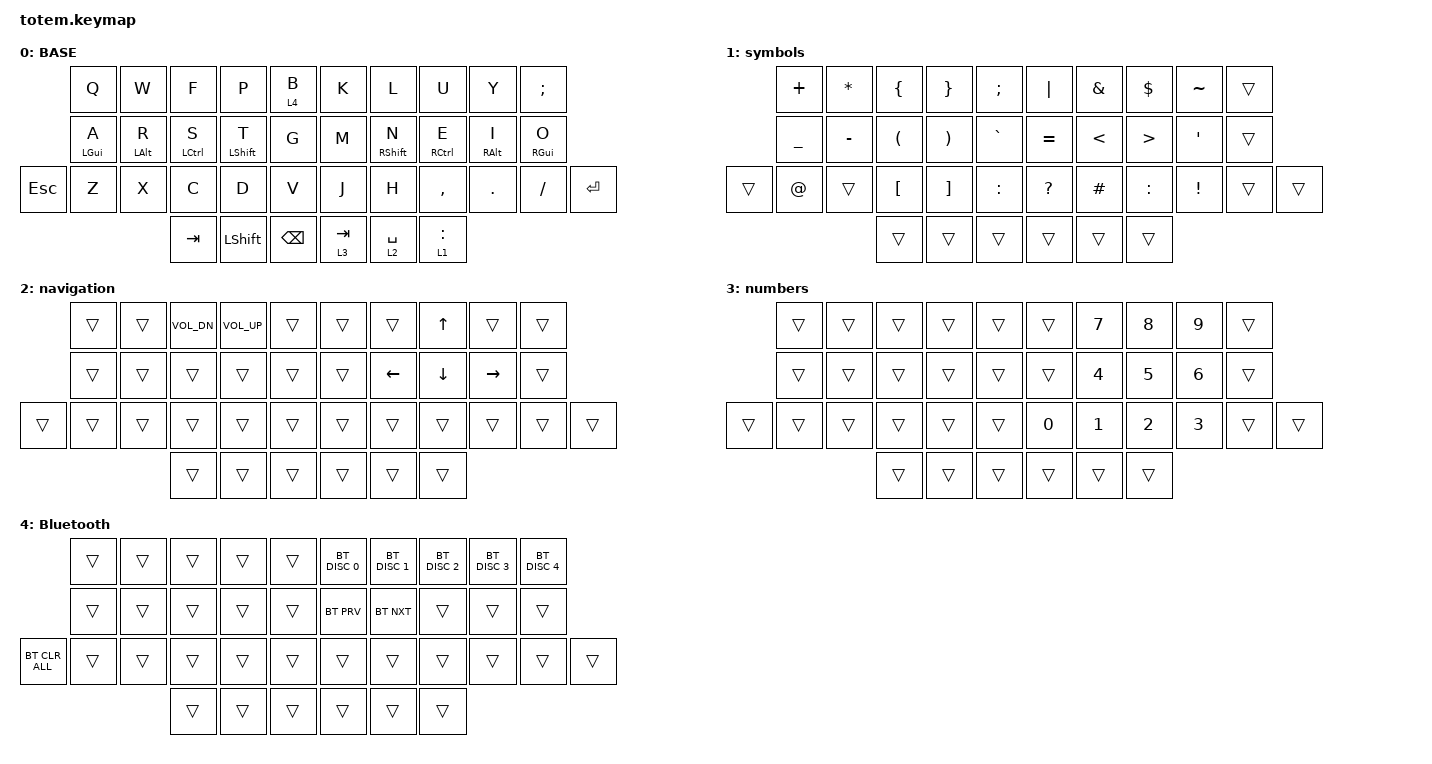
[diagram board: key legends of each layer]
//
//                                                        ▀▀▀▀▀     ▀▀▀▀▀          ▀▀█▀▀
//                                                        ▄▀▀▀▄  ▄  ▄▀▀▀▄  ▄  ▄▀▀▀▄  █  ▄▀▀▀▄
//                                                        █   █  █  █   █  █  █   █  █  █   █
//                                                         ▀▀▀   █   ▀▀▀   █   ▀▀▀   ▀   ▀▀▀
//                                                               █      ▄▄▄█▄▄▄    █   █  
//                                                               ▀      █  █  █     █▄█
//                                                             ▀▀▀▀▀    █  █  █      ▀
//                                                                      ▀  ▀  ▀
//
// ▄▄▄▄▄▄▄▄▄▄▄▄▄▄▄▄▄▄▄▄▄▄▄▄▄▄▄▄▄▄▄▄▄▄▄▄▄▄▄▄▄▄▄▄▄▄▄▄▄▄▄▄▄▄▄▄▄▄▄▄▄▄▄▄▄▄▄▄▄▄▄▄▄▄▄▄▄▄▄▄▄▄▄▄▄▄▄▄▄▄▄▄▄▄▄▄▄▄▄▄▄▄▄▄▄▄▄▄▄▄▄▄▄▄▄▄▄▄▄▄▄▄▄▄▄▄▄▄▄▄▄▄▄▄▄▄▄▄▄▄▄▄▄▄▄▄▄▄▄

#include <behaviors.dtsi>
#include <dt-bindings/zmk/bt.h>
#include <dt-bindings/zmk/keys.h>

#define BASE 0
#define NAV  1
#define SYM  2
#define ADJ  3
#define TVP1 4
#define TVP2 5

&mt {
    quick-tap-ms = <100>;
    global-quick-tap;
    flavor = "tap-preferred";
    tapping-term-ms = <170>;
};

/ {
    combos {
        compatible = "zmk,combos";

        combo_esc {
            timeout-ms = <50>;
            key-positions = <0 1>;
            bindings = <&kp ESC>;
        };

        combo_tvp {
            timeout-ms = <100>;
            key-positions = <11 12 13>;
            bindings = <&tog 0>;
        };
    };

    macros {
        gif: gif {
            label = "giphy";
            compatible = "zmk,behavior-macro";
            #binding-cells = <0>;
            bindings =
                <&macro_press>,
                <&kp LSHFT>,
                <&macro_tap>,
                <&kp N2>,
                <&macro_release>,
                <&kp LSHFT>,
                <&macro_tap>,
                <&kp G &kp I &kp F>;
        };
    };

    keymap {
        compatible = "zmk,keymap";

        // ▄▄▄▄▄▄▄▄▄▄▄▄▄▄▄▄▄▄▄▄▄▄▄▄▄▄▄▄▄▄▄▄▄▄▄▄▄▄▄▄▄▄▄▄▄▄▄▄▄▄▄▄▄▄▄▄▄▄▄▄▄▄▄▄▄▄▄▄▄▄▄▄▄▄▄▄▄▄▄▄▄▄▄▄▄▄▄▄▄▄▄▄▄▄▄▄▄▄▄▄▄▄▄▄▄▄▄▄▄▄▄▄▄▄▄▄▄▄▄▄▄▄▄▄▄▄▄▄▄▄▄▄▄▄▄▄▄▄▄▄▄▄▄▄▄▄▄▄▄

        base_layer {
            // ┏━━━━━━━━━━━━━━━━━━━━━━━━━━━━━━━━━━━━━━━┓

            label = "BASE";

            // ┗━━━━━━━━━━━━━━━━━━━━━━━━━━━━━━━━━━━━━━━┛
            //             ┏━━━━━━━━━━━┳━━━━━━━━━━━┳━━━━━━━━━━━┳━━━━━━━━━━━┳━━━━━━━━━━━┓   ┏━━━━━━━━━━━┳━━━━━━━━━━━┳━━━━━━━━━━━┳━━━━━━━━━━━┳━━━━━━━━━━━┓
            //             ┃     Q     ┃     W     ┃     F     ┃     P     ┃     G     ┃   ┃     J     ┃     L     ┃     U     ┃     Y     ┃     ;     ┃
            //             ┣━━━━━━━━━━━╋━━━━━━━━━━━╋━━━━━━━━━━━╋━━━━━━━━━━━╋━━━━━━━━━━━┫   ┣━━━━━━━━━━━╋━━━━━━━━━━━╋━━━━━━━━━━━╋━━━━━━━━━━━╋━━━━━━━━━━━┫
            //             ┃     A     ┃     R     ┃     S     ┃     T     ┃     D     ┃   ┃     K     ┃     N     ┃     E     ┃     I     ┃     O     ┃
            // ┏━━━━━━━━━━━╋━━━━━━━━━━━╋━━━━━━━━━━━╋━━━━━━━━━━━╋━━━━━━━━━━━╋━━━━━━━━━━━┫   ┣━━━━━━━━━━━╋━━━━━━━━━━━╋━━━━━━━━━━━╋━━━━━━━━━━━╋━━━━━━━━━━━╋━━━━━━━━━━━┓
            // ┃     Q     ┃     Z     ┃     X     ┃     C     ┃     V     ┃     B     ┃   ┃     H     ┃     M     ┃     ,     ┃     .     ┃     /     ┃     \     ┃
            // ┗━━━━━━━━━━━┻━━━━━━━━━━━┻━━━━━━━━━━━╋━━━━━━━━━━━╋━━━━━━━━━━━╋━━━━━━━━━━━┫   ┣━━━━━━━━━━━╋━━━━━━━━━━━╋━━━━━━━━━━━╋━━━━━━━━━━━┻━━━━━━━━━━━┻━━━━━━━━━━━┛
            //                                     ┃    DEL    ┃    TAB    ┃    SPC    ┃   ┃   ENTER   ┃           ┃   BSPC    ┃
            //                                     ┗━━━━━━━━━━━┻━━━━━━━━━━━┻━━━━━━━━━━━┛   ┗━━━━━━━━━━━┻━━━━━━━━━━━┻━━━━━━━━━━━┛

            bindings = <
         &kp Q       &kp W       &kp F        &kp P           &lt 4 B          &kp K      &kp L        &kp U        &kp Y       &kp SEMI
         &mt LGUI A  &mt LALT R  &mt LCTRL S  &mt LSHFT T     &kp G            &kp M      &mt RSHFT N  &mt RCTRL E  &mt RALT I  &mt RGUI O
&kp ESC  &kp Z       &kp X       &kp C        &kp D           &kp V            &kp J      &kp H        &kp COMMA    &kp DOT     &kp FSLH    &kp ENTER
                                 &kp TAB      &kp LEFT_SHIFT  &kp BACKSPACE    &lt 3 TAB  &lt 2 SPACE  &lt 1 COLON
            >;
        };

        // ▄▄▄▄▄▄▄▄▄▄▄▄▄▄▄▄▄▄▄▄▄▄▄▄▄▄▄▄▄▄▄▄▄▄▄▄▄▄▄▄▄▄▄▄▄▄▄▄▄▄▄▄▄▄▄▄▄▄▄▄▄▄▄▄▄▄▄▄▄▄▄▄▄▄▄▄▄▄▄▄▄▄▄▄▄▄▄▄▄▄▄▄▄▄▄▄▄▄▄▄▄▄▄▄▄▄▄▄▄▄▄▄▄▄▄▄▄▄▄▄▄▄▄▄▄▄▄▄▄▄▄▄▄▄▄▄▄▄▄▄▄▄▄▄▄▄▄▄▄
        // ▄▄▄▄▄▄▄▄▄▄▄▄▄▄▄▄▄▄▄▄▄▄▄▄▄▄▄▄▄▄▄▄▄▄▄▄▄▄▄▄▄▄▄▄▄▄▄▄▄▄▄▄▄▄▄▄▄▄▄▄▄▄▄▄▄▄▄▄▄▄▄▄▄▄▄▄▄▄▄▄▄▄▄▄▄▄▄▄▄▄▄▄▄▄▄▄▄▄▄▄▄▄▄▄▄▄▄▄▄▄▄▄▄▄▄▄▄▄▄▄▄▄▄▄▄▄▄▄▄▄▄▄▄▄▄▄▄▄▄▄▄▄▄▄▄▄▄▄▄
        // ▄▄▄▄▄▄▄▄▄▄▄▄▄▄▄▄▄▄▄▄▄▄▄▄▄▄▄▄▄▄▄▄▄▄▄▄▄▄▄▄▄▄▄▄▄▄▄▄▄▄▄▄▄▄▄▄▄▄▄▄▄▄▄▄▄▄▄▄▄▄▄▄▄▄▄▄▄▄▄▄▄▄▄▄▄▄▄▄▄▄▄▄▄▄▄▄▄▄▄▄▄▄▄▄▄▄▄▄▄▄▄▄▄▄▄▄▄▄▄▄▄▄▄▄▄▄▄▄▄▄▄▄▄▄▄▄▄▄▄▄▄▄▄▄▄▄▄▄▄
        // ▄▄▄▄▄▄▄▄▄▄▄▄▄▄▄▄▄▄▄▄▄▄▄▄▄▄▄▄▄▄▄▄▄▄▄▄▄▄▄▄▄▄▄▄▄▄▄▄▄▄▄▄▄▄▄▄▄▄▄▄▄▄▄▄▄▄▄▄▄▄▄▄▄▄▄▄▄▄▄▄▄▄▄▄▄▄▄▄▄▄▄▄▄▄▄▄▄▄▄▄▄▄▄▄▄▄▄▄▄▄▄▄▄▄▄▄▄▄▄▄▄▄▄▄▄▄▄▄▄▄▄▄▄▄▄▄▄▄▄▄▄▄▄▄▄▄▄▄▄
        // ▄▄▄▄▄▄▄▄▄▄▄▄▄▄▄▄▄▄▄▄▄▄▄▄▄▄▄▄▄▄▄▄▄▄▄▄▄▄▄▄▄▄▄▄▄▄▄▄▄▄▄▄▄▄▄▄▄▄▄▄▄▄▄▄▄▄▄▄▄▄▄▄▄▄▄▄▄▄▄▄▄▄▄▄▄▄▄▄▄▄▄▄▄▄▄▄▄▄▄▄▄▄▄▄▄▄▄▄▄▄▄▄▄▄▄▄▄▄▄▄▄▄▄▄▄▄▄▄▄▄▄▄▄▄▄▄▄▄▄▄▄▄▄▄▄▄▄▄▄

        symbols {
            bindings = <
        &kp PLUS        &kp ASTERISK  &kp LEFT_BRACE        &kp RIGHT_BRACE        &kp SEMICOLON    &kp PIPE      &kp AMPERSAND  &kp DOLLAR        &kp TILDE        &trans
        &kp UNDERSCORE  &kp MINUS     &kp LEFT_PARENTHESIS  &kp RIGHT_PARENTHESIS  &kp GRAVE        &kp EQUAL     &kp LESS_THAN  &kp GREATER_THAN  &kp SQT          &trans
&trans  &kp AT_SIGN     &trans        &kp LEFT_BRACKET      &kp RIGHT_BRACKET      &kp COLON        &kp QUESTION  &kp HASH       &kp COLON         &kp EXCLAMATION  &trans  &trans
                                      &trans                &trans                 &trans           &trans        &trans         &trans
            >;
        };

        navigation {
            bindings = <
        &trans  &trans  &kp C_VOL_DN  &kp C_VOLUME_UP  &trans    &trans  &trans    &kp UP_ARROW    &trans     &trans
        &trans  &trans  &trans        &trans           &trans    &trans  &kp LEFT  &kp DOWN_ARROW  &kp RIGHT  &trans
&trans  &trans  &trans  &trans        &trans           &trans    &trans  &trans    &trans          &trans     &trans  &trans
                        &trans        &trans           &trans    &trans  &trans    &trans
            >;
        };

        numbers {
            bindings = <
        &trans  &trans  &trans  &trans  &trans    &trans  &kp N7        &kp N8        &kp N9        &trans
        &trans  &trans  &trans  &trans  &trans    &trans  &kp NUMBER_4  &kp N5        &kp NUMBER_6  &trans
&trans  &trans  &trans  &trans  &trans  &trans    &kp N0  &kp NUMBER_1  &kp NUMBER_2  &kp NUMBER_3  &trans  &trans
                        &trans  &trans  &trans    &trans  &trans        &trans
            >;
        };

        Bluetooth {
            bindings = <
                &trans  &trans  &trans  &trans  &trans    &bt BT_DISC 0  &bt BT_DISC 1  &bt BT_DISC 2  &bt BT_DISC 3  &bt BT_DISC 4
                &trans  &trans  &trans  &trans  &trans    &bt BT_PRV     &bt BT_NXT     &trans         &trans         &trans
&bt BT_CLR_ALL  &trans  &trans  &trans  &trans  &trans    &trans         &trans         &trans         &trans         &trans         &trans
                                &trans  &trans  &trans    &trans         &trans         &trans
            >;
        };
    };
};
